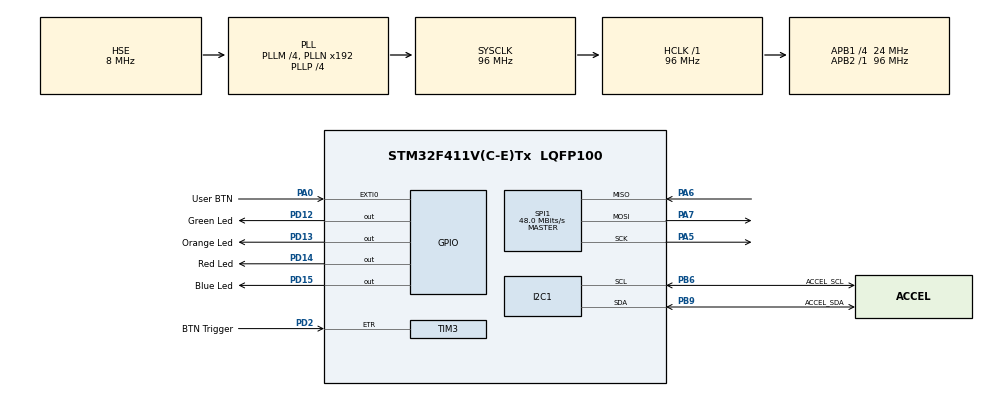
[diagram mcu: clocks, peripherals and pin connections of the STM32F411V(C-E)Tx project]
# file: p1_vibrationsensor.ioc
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Mcu.Family=STM32F4
Mcu.Name=STM32F411V(C-E)Tx
Mcu.Package=LQFP100
NVIC.EXTI0_IRQn=true\:0\:0\:false\:false\:true\:true\:true\:true
NVIC.PriorityGroup=NVIC_PRIORITYGROUP_0
NVIC.TIM1_UP_TIM10_IRQn=true\:0\:0\:false\:false\:true\:true\:true\:true
NVIC.TIM3_IRQn=true\:0\:0\:false\:false\:true\:true\:true\:true
NVIC.TIM4_IRQn=true\:0\:0\:false\:false\:true\:true\:true\:true
PA0-WKUP.GPIO_Label=User BTN
PA0-WKUP.Signal=GPXTI0
PA13.Mode=Serial_Wire
PA13.Signal=SYS_JTMS-SWDIO
PA14.Mode=Serial_Wire
PA14.Signal=SYS_JTCK-SWCLK
PA5.Mode=Full_Duplex_Master
PA5.Signal=SPI1_SCK
PA6.Mode=Full_Duplex_Master
PA6.Signal=SPI1_MISO
PA7.Mode=Full_Duplex_Master
PA7.Signal=SPI1_MOSI
PB6.GPIO_Label=ACCEL_SCL
PB6.Mode=I2C
PB6.Signal=I2C1_SCL
PB9.GPIO_Label=ACCEL_SDA
PB9.Mode=I2C
PB9.Signal=I2C1_SDA
PD12.GPIO_Label=Green Led
PD12.Signal=GPIO_Output
PD13.GPIO_Label=Orange Led
PD13.Signal=GPIO_Output
PD14.GPIO_Label=Red Led
PD14.Signal=GPIO_Output
PD15.GPIO_Label=Blue Led
PD15.Signal=GPIO_Output
PD2.GPIO_Label=BTN Trigger
PD2.Signal=S_TIM3_ETR
PH0\ -\ OSC_IN.Mode=HSE-External-Oscillator
PH0\ -\ OSC_IN.Signal=RCC_OSC_IN
PH1\ -\ OSC_OUT.Mode=HSE-External-Oscillator
PH1\ -\ OSC_OUT.Signal=RCC_OSC_OUT
ProjectManager.HeapSize=0x200
ProjectManager.StackSize=0x400
ProjectManager.TargetToolchain=STM32CubeIDE
RCC.48MHZClocksFreq_Value=48000000
RCC.AHBFreq_Value=96000000
RCC.APB1CLKDivider=RCC_HCLK_DIV4
RCC.APB1Freq_Value=24000000
RCC.APB1TimFreq_Value=48000000
RCC.APB2Freq_Value=96000000
RCC.APB2TimFreq_Value=96000000
RCC.CortexFreq_Value=96000000
RCC.HCLKFreq_Value=96000000
RCC.HSE_VALUE=8000000
RCC.HSI_VALUE=16000000
RCC.LSE_VALUE=32768
RCC.PLLI2SM=5
RCC.PLLI2SN=200
RCC.PLLM=4
RCC.PLLP=RCC_PLLP_DIV4
RCC.PLLQ=8
RCC.PLLSourceVirtual=RCC_PLLSOURCE_HSE
RCC.SYSCLKFreq_VALUE=96000000
RCC.SYSCLKSource=RCC_SYSCLKSOURCE_PLLCLK
RCC.VCOOutputFreq_Value=384000000
SH.S_TIM3_ETR.0=TIM3_ETR,TriggerSource_ETR
SPI1.CalculateBaudRate=48.0 MBits/s
SPI1.Direction=SPI_DIRECTION_2LINES
SPI1.Mode=SPI_MODE_MASTER
SPI1.VirtualType=VM_MASTER
TIM10.Period=999
TIM10.Prescaler=9599
TIM3.Period=9999
TIM3.Prescaler=4799
TIM4.Period=9999
TIM4.Prescaler=4799
VP_TIM10_VS_ClockSourceINT.Mode=Enable_Timer
VP_TIM3_VS_ClockSourceINT.Mode=Internal
VP_TIM3_VS_ControllerModeReset.Mode=Reset Mode
VP_TIM4_VS_ClockSourceINT.Mode=Internal
board=STM32F411E-DISCO

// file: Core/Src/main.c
/* USER CODE BEGIN Header */
/**
  ******************************************************************************
  * @file           : main.c
  * @brief          : Main program body
  ******************************************************************************
  * @attention
  *
  * Copyright (c) 2024 STMicroelectronics.
  * All rights reserved.
  *
  * This software is licensed under terms that can be found in the LICENSE file
  * in the root directory of this software component.
  * If no LICENSE file comes with this software, it is provided AS-IS.
  *
  ******************************************************************************
  */
/* USER CODE END Header */
#include "main.h"

/* USER CODE BEGIN Includes */
#include "fsm.h"
#include "stm32f411e_discovery_accelerometer.h"
/* USER CODE END Includes */

/* USER CODE BEGIN PD */
#define threshold_x 10000
#define threshold_y 10000
#define threshold_z 20000

/* USER CODE END PD */

I2C_HandleTypeDef hi2c1;

SPI_HandleTypeDef hspi1;

TIM_HandleTypeDef htim3;
TIM_HandleTypeDef htim4;
TIM_HandleTypeDef htim10;

/* USER CODE BEGIN PV */
int blueledflag = 0;

int activoflag = 0;
int available = 1;

int tim10finished = 0;

enum estados_btn{
	INACTIVO,
	ACTIVO,
};

int Blue_Led_state = 0;
int Red_Led_state = 0;
int Green_Led_state = 0;
int Orange_Led_state = 0;

int Trigger_state = 0;
int readbtn = 0; //Solo pondré aquí un 1 con la interrupción externa
int16_t xyz[3]; //Array con tres enteros para la lectura de los ejes del acelerómetro
/* USER CODE END PV */

void SystemClock_Config(void);
static void MX_GPIO_Init(void);
static void MX_TIM4_Init(void);
static void MX_TIM3_Init(void);
static void MX_TIM10_Init(void);
static void MX_I2C1_Init(void);
static void MX_SPI1_Init(void);
/* USER CODE BEGIN PFP */
int absolute(int16_t value){
	if (value >= 0) return value;
	else return -value;
}
void read_Accel(){
	tim10finished = 0;
	BSP_ACCELERO_GetXYZ(xyz);

	if (absolute(xyz[0]) > threshold_x){
		Green_Led_state = 1;
	}
	if (absolute(xyz[1]) > threshold_y){
			Orange_Led_state = 1;
	}
	if (absolute(xyz[2]) > threshold_z){
			Red_Led_state = 1;
	}

}

//Funciones de salida de transiciones btnfsm

static void func_INACTIVO (fsm_t* this){
	activoflag = 0;
	Trigger_state = 0;

	Red_Led_state = 0;
	Green_Led_state = 0;
	Orange_Led_state = 0;

}

static void func_ACTIVO (fsm_t* this){
	activoflag = 1;
	Trigger_state = 0;

}

//Funciones de entrada de transiciones btnfsm
static int read_BTN(fsm_t* this){
	//int readbtn = HAL_GPIO_ReadPin(User_BTN_GPIO_Port, User_BTN_Pin)
	if (readbtn){
			readbtn = 0;
			available = 0;
			Trigger_state = 1; //Reseteo el contador para que cuente 500ms
			return 1;
	}
	else return 0;
}

/* USER CODE END PFP */

/* USER CODE BEGIN 0 */
static fsm_trans_t btnfsm[] = { //FSM que controla el cooldown del pulsador (antirrebote)
	{INACTIVO, read_BTN, ACTIVO, func_ACTIVO},
	{ACTIVO, read_BTN, INACTIVO, func_INACTIVO},
	{-1, NULL, -1, NULL},
};

/* USER CODE END 0 */

int main(void)
{

  /* MCU Configuration--------------------------------------------------------*/

  /* Reset of all peripherals, Initializes the Flash interface and the Systick. */
  HAL_Init();

  /* Configure the system clock */
  SystemClock_Config();

  /* Initialize all configured peripherals */
  MX_GPIO_Init();
  MX_TIM4_Init();
  MX_TIM3_Init();
  MX_TIM10_Init();
  MX_I2C1_Init();
  MX_SPI1_Init();
  /* USER CODE BEGIN 2 */
  HAL_TIM_Base_Start_IT(&htim4); //Inicializo el timer 4.
  HAL_TIM_Base_Start_IT(&htim3); //También el 3.
  HAL_TIM_Base_Start_IT(&htim10);

 // fsm_t* maquinaLED = fsm_new(ledfsm);
  fsm_t* maquinaBTN = fsm_new(btnfsm);
  BSP_ACCELERO_Init(); //Inicializo el acelerómetro
  /* USER CODE END 2 */

  /* Infinite loop */
  /* USER CODE BEGIN WHILE */
  while (1)
  {
	  fsm_fire(maquinaBTN);
	//  fsm_fire(maquinaLED);
    /* USER CODE END WHILE */

    /* USER CODE BEGIN 3 */
	  if (activoflag && tim10finished){
		  tim10finished = 0;
		 // printf("Tim10 va acabar, llegint accelerometre");
		  read_Accel();
	  }

	  HAL_GPIO_WritePin(BTN_Trigger_GPIO_Port, BTN_Trigger_Pin, Trigger_state);
	  HAL_GPIO_WritePin(Blue_Led_GPIO_Port, Blue_Led_Pin, Blue_Led_state);

	  HAL_GPIO_WritePin(Red_Led_GPIO_Port, Red_Led_Pin, Red_Led_state);
	  HAL_GPIO_WritePin(Green_Led_GPIO_Port, Green_Led_Pin, Green_Led_state);
	  HAL_GPIO_WritePin(Orange_Led_GPIO_Port, Orange_Led_Pin, Orange_Led_state);

  }
  /* USER CODE END 3 */
}

void SystemClock_Config(void)
{
  RCC_OscInitTypeDef RCC_OscInitStruct = {0};
  RCC_ClkInitTypeDef RCC_ClkInitStruct = {0};

  /** Configure the main internal regulator output voltage
  */
  __HAL_RCC_PWR_CLK_ENABLE();
  __HAL_PWR_VOLTAGESCALING_CONFIG(PWR_REGULATOR_VOLTAGE_SCALE1);

  /** Initializes the RCC Oscillators according to the specified parameters
  * in the RCC_OscInitTypeDef structure.
  */
  RCC_OscInitStruct.OscillatorType = RCC_OSCILLATORTYPE_HSE;
  RCC_OscInitStruct.HSEState = RCC_HSE_ON;
  RCC_OscInitStruct.PLL.PLLState = RCC_PLL_ON;
  RCC_OscInitStruct.PLL.PLLSource = RCC_PLLSOURCE_HSE;
  RCC_OscInitStruct.PLL.PLLM = 4;
  RCC_OscInitStruct.PLL.PLLN = 192;
  RCC_OscInitStruct.PLL.PLLP = RCC_PLLP_DIV4;
  RCC_OscInitStruct.PLL.PLLQ = 8;
  if (HAL_RCC_OscConfig(&RCC_OscInitStruct) != HAL_OK)
  {
    Error_Handler();
  }

  /** Initializes the CPU, AHB and APB buses clocks
  */
  RCC_ClkInitStruct.ClockType = RCC_CLOCKTYPE_HCLK|RCC_CLOCKTYPE_SYSCLK
                              |RCC_CLOCKTYPE_PCLK1|RCC_CLOCKTYPE_PCLK2;
  RCC_ClkInitStruct.SYSCLKSource = RCC_SYSCLKSOURCE_PLLCLK;
  RCC_ClkInitStruct.AHBCLKDivider = RCC_SYSCLK_DIV1;
  RCC_ClkInitStruct.APB1CLKDivider = RCC_HCLK_DIV4;
  RCC_ClkInitStruct.APB2CLKDivider = RCC_HCLK_DIV1;

  if (HAL_RCC_ClockConfig(&RCC_ClkInitStruct, FLASH_LATENCY_3) != HAL_OK)
  {
    Error_Handler();
  }
}

static void MX_I2C1_Init(void)
{

  hi2c1.Instance = I2C1;
  hi2c1.Init.ClockSpeed = 100000;
  hi2c1.Init.DutyCycle = I2C_DUTYCYCLE_2;
  hi2c1.Init.OwnAddress1 = 0;
  hi2c1.Init.AddressingMode = I2C_ADDRESSINGMODE_7BIT;
  hi2c1.Init.DualAddressMode = I2C_DUALADDRESS_DISABLE;
  hi2c1.Init.OwnAddress2 = 0;
  hi2c1.Init.GeneralCallMode = I2C_GENERALCALL_DISABLE;
  hi2c1.Init.NoStretchMode = I2C_NOSTRETCH_DISABLE;
  if (HAL_I2C_Init(&hi2c1) != HAL_OK)
  {
    Error_Handler();
  }

}

static void MX_SPI1_Init(void)
{

  /* SPI1 parameter configuration*/
  hspi1.Instance = SPI1;
  hspi1.Init.Mode = SPI_MODE_MASTER;
  hspi1.Init.Direction = SPI_DIRECTION_2LINES;
  hspi1.Init.DataSize = SPI_DATASIZE_8BIT;
  hspi1.Init.CLKPolarity = SPI_POLARITY_LOW;
  hspi1.Init.CLKPhase = SPI_PHASE_1EDGE;
  hspi1.Init.NSS = SPI_NSS_SOFT;
  hspi1.Init.BaudRatePrescaler = SPI_BAUDRATEPRESCALER_2;
  hspi1.Init.FirstBit = SPI_FIRSTBIT_MSB;
  hspi1.Init.TIMode = SPI_TIMODE_DISABLE;
  hspi1.Init.CRCCalculation = SPI_CRCCALCULATION_DISABLE;
  hspi1.Init.CRCPolynomial = 10;
  if (HAL_SPI_Init(&hspi1) != HAL_OK)
  {
    Error_Handler();
  }

}

static void MX_TIM3_Init(void)
{

  TIM_ClockConfigTypeDef sClockSourceConfig = {0};
  TIM_SlaveConfigTypeDef sSlaveConfig = {0};
  TIM_MasterConfigTypeDef sMasterConfig = {0};

  htim3.Instance = TIM3;
  htim3.Init.Prescaler = 4799;
  htim3.Init.CounterMode = TIM_COUNTERMODE_UP;
  htim3.Init.Period = 9999;
  htim3.Init.ClockDivision = TIM_CLOCKDIVISION_DIV1;
  htim3.Init.AutoReloadPreload = TIM_AUTORELOAD_PRELOAD_DISABLE;
  if (HAL_TIM_Base_Init(&htim3) != HAL_OK)
  {
    Error_Handler();
  }
  sClockSourceConfig.ClockSource = TIM_CLOCKSOURCE_INTERNAL;
  if (HAL_TIM_ConfigClockSource(&htim3, &sClockSourceConfig) != HAL_OK)
  {
    Error_Handler();
  }
  sSlaveConfig.SlaveMode = TIM_SLAVEMODE_RESET;
  sSlaveConfig.InputTrigger = TIM_TS_ETRF;
  sSlaveConfig.TriggerPolarity = TIM_TRIGGERPOLARITY_NONINVERTED;
  sSlaveConfig.TriggerPrescaler = TIM_TRIGGERPRESCALER_DIV1;
  sSlaveConfig.TriggerFilter = 0;
  if (HAL_TIM_SlaveConfigSynchro(&htim3, &sSlaveConfig) != HAL_OK)
  {
    Error_Handler();
  }
  sMasterConfig.MasterOutputTrigger = TIM_TRGO_RESET;
  sMasterConfig.MasterSlaveMode = TIM_MASTERSLAVEMODE_DISABLE;
  if (HAL_TIMEx_MasterConfigSynchronization(&htim3, &sMasterConfig) != HAL_OK)
  {
    Error_Handler();
  }

}

static void MX_TIM4_Init(void)
{

  TIM_ClockConfigTypeDef sClockSourceConfig = {0};
  TIM_MasterConfigTypeDef sMasterConfig = {0};

  htim4.Instance = TIM4;
  htim4.Init.Prescaler = 4799;
  htim4.Init.CounterMode = TIM_COUNTERMODE_UP;
  htim4.Init.Period = 9999;
  htim4.Init.ClockDivision = TIM_CLOCKDIVISION_DIV1;
  htim4.Init.AutoReloadPreload = TIM_AUTORELOAD_PRELOAD_DISABLE;
  if (HAL_TIM_Base_Init(&htim4) != HAL_OK)
  {
    Error_Handler();
  }
  sClockSourceConfig.ClockSource = TIM_CLOCKSOURCE_INTERNAL;
  if (HAL_TIM_ConfigClockSource(&htim4, &sClockSourceConfig) != HAL_OK)
  {
    Error_Handler();
  }
  sMasterConfig.MasterOutputTrigger = TIM_TRGO_RESET;
  sMasterConfig.MasterSlaveMode = TIM_MASTERSLAVEMODE_DISABLE;
  if (HAL_TIMEx_MasterConfigSynchronization(&htim4, &sMasterConfig) != HAL_OK)
  {
    Error_Handler();
  }

}

static void MX_TIM10_Init(void)
{

  htim10.Instance = TIM10;
  htim10.Init.Prescaler = 9599;
  htim10.Init.CounterMode = TIM_COUNTERMODE_UP;
  htim10.Init.Period = 999;
  htim10.Init.ClockDivision = TIM_CLOCKDIVISION_DIV1;
  htim10.Init.AutoReloadPreload = TIM_AUTORELOAD_PRELOAD_DISABLE;
  if (HAL_TIM_Base_Init(&htim10) != HAL_OK)
  {
    Error_Handler();
  }

}

static void MX_GPIO_Init(void)
{
  GPIO_InitTypeDef GPIO_InitStruct = {0};

  /* GPIO Ports Clock Enable */
  __HAL_RCC_GPIOH_CLK_ENABLE();
  __HAL_RCC_GPIOA_CLK_ENABLE();
  __HAL_RCC_GPIOD_CLK_ENABLE();
  __HAL_RCC_GPIOB_CLK_ENABLE();

  /*Configure GPIO pin Output Level */
  HAL_GPIO_WritePin(GPIOD, Green_Led_Pin|Orange_Led_Pin|Red_Led_Pin|Blue_Led_Pin, GPIO_PIN_RESET);

  /*Configure GPIO pin : User_BTN_Pin */
  GPIO_InitStruct.Pin = User_BTN_Pin;
  GPIO_InitStruct.Mode = GPIO_MODE_IT_RISING;
  GPIO_InitStruct.Pull = GPIO_NOPULL;
  HAL_GPIO_Init(User_BTN_GPIO_Port, &GPIO_InitStruct);

  /*Configure GPIO pins : Green_Led_Pin Orange_Led_Pin Red_Led_Pin Blue_Led_Pin */
  GPIO_InitStruct.Pin = Green_Led_Pin|Orange_Led_Pin|Red_Led_Pin|Blue_Led_Pin;
  GPIO_InitStruct.Mode = GPIO_MODE_OUTPUT_PP;
  GPIO_InitStruct.Pull = GPIO_NOPULL;
  GPIO_InitStruct.Speed = GPIO_SPEED_FREQ_LOW;
  HAL_GPIO_Init(GPIOD, &GPIO_InitStruct);

  /* EXTI interrupt init*/
  HAL_NVIC_SetPriority(EXTI0_IRQn, 0, 0);
  HAL_NVIC_EnableIRQ(EXTI0_IRQn);

}

/* USER CODE BEGIN 4 */
int _write(int file, char *ptr, int len)
{
  (void)file;
  int DataIdx;

  for (DataIdx = 0; DataIdx < len; DataIdx++)
  {
    ITM_SendChar(*ptr++);
  }
  return len;
}
/* USER CODE END 4 */

void Error_Handler(void)
{
  __disable_irq();
  while (1)
  {
  }
}
